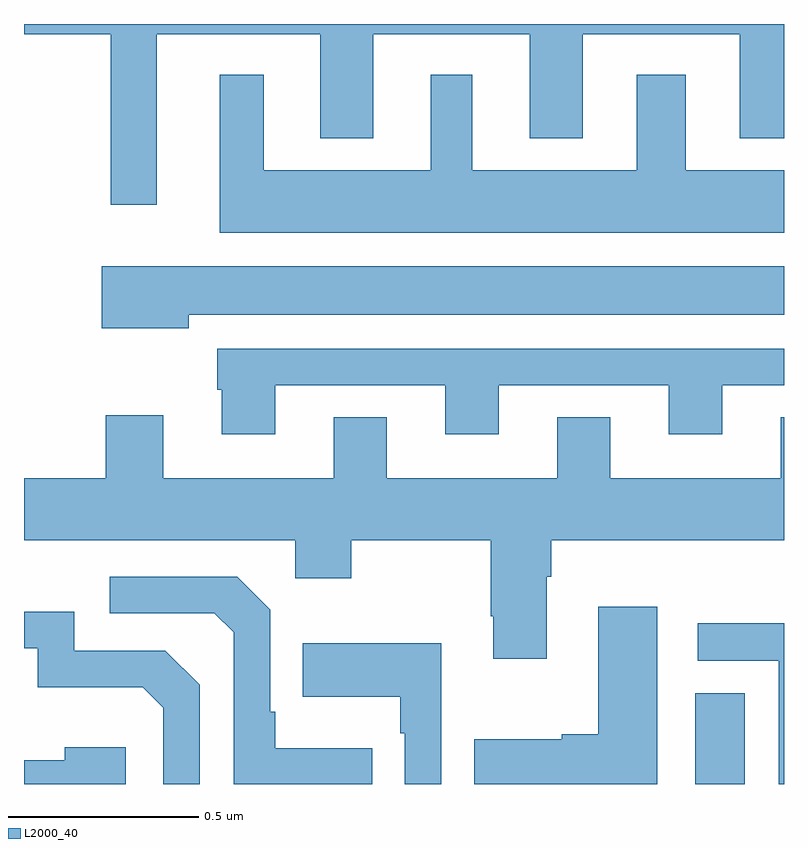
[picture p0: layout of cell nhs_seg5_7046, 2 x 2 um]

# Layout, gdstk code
import gdstk
lib = gdstk.Library(unit=1e-6, precision=1e-09)
def R(c, l, rs):  # rectangles x0, y0, x1, y1
    for r in rs: c.add(gdstk.rectangle(r[:2], r[2:], *l))
def P(c, l, *ps):  # polygons
    for p in ps: c.add(gdstk.Polygon(p, *l))
L2000_40 = (2000, 40)

nhs_seg5_7046 = lib.new_cell('nhs_seg5_7046')
R(nhs_seg5_7046, L2000_40, [(205.766,842.799,205.897,843.038)])
P(nhs_seg5_7046, L2000_40, [(204.349,844.772),(204.779,844.772),(204.779,844.499),(204.919,844.499),(204.919,844.772),(205.331,844.772),(205.331,844.499),(205.471,844.499),(205.471,844.772),(205.883,844.772),(205.883,844.499),(206,844.499),(206,844.799),(204,844.799),(204,844.772),(204.228,844.772),(204.228,844.323),(204.349,844.323)],
  [(206,844.414),(205.741,844.414),(205.741,844.666),(205.613,844.666),(205.613,844.414),(205.18,844.414),(205.18,844.666),(205.07,844.666),(205.07,844.414),(204.631,844.414),(204.631,844.666),(204.515,844.666),(204.515,844.25),(206,844.25)],
  [(204.433,844.034),(206,844.034),(206,844.162),(204.204,844.162),(204.204,843.998),(204.433,843.998)],
  [(204.661,843.849),(205.109,843.849),(205.109,843.72),(205.249,843.72),(205.249,843.849),(205.697,843.849),(205.697,843.72),(205.837,843.72),(205.837,843.849),(206,843.849),(206,843.945),(204.509,843.945),(204.509,843.837),(204.521,843.837),(204.521,843.72),(204.661,843.72)],
  [(205.375,843.344),(205.388,843.344),(205.388,843.44),(206,843.44),(206,843.764),(205.991,843.764),(205.991,843.604),(205.543,843.604),(205.543,843.764),(205.403,843.764),(205.403,843.604),(204.955,843.604),(204.955,843.764),(204.815,843.764),(204.815,843.604),(204.367,843.604),(204.367,843.769),(204.215,843.769),(204.215,843.604),(204,843.604),(204,843.44),(204.714,843.44),(204.714,843.341),(204.861,843.341),(204.861,843.44),(205.228,843.44),(205.228,843.241),(205.235,843.241),(205.235,843.129),(205.375,843.129)],
  [(204.917,842.893),(204.661,842.893),(204.661,842.989),(204.648,842.989),(204.648,843.258),(204.561,843.345),(204.225,843.345),(204.225,843.249),(204.501,843.249),(204.552,843.198),(204.552,842.799),(204.917,842.799)],
  [(205.666,843.265),(205.511,843.265),(205.511,842.93),(205.415,842.93),(205.415,842.917),(205.185,842.917),(205.185,842.799),(205.666,842.799)],
  [(204.462,843.06),(204.372,843.15),(204.132,843.15),(204.132,843.252),(204,843.252),(204,843.156),(204.036,843.156),(204.036,843.053),(204.313,843.053),(204.366,843),(204.366,842.799),(204.462,842.799)],
  [(206,843.222),(205.773,843.222),(205.773,843.123),(205.986,843.123),(205.986,842.799),(206,842.799)],
  [(205.098,843.169),(204.733,843.169),(204.733,843.029),(204.99,843.029),(204.99,842.933),(205.002,842.933),(205.002,842.799),(205.098,842.799)],
  [(204.268,842.896),(204.107,842.896),(204.107,842.862),(204,842.862),(204,842.799),(204.268,842.799)])

lib.write_gds('nhs_seg5_7046.gds')
